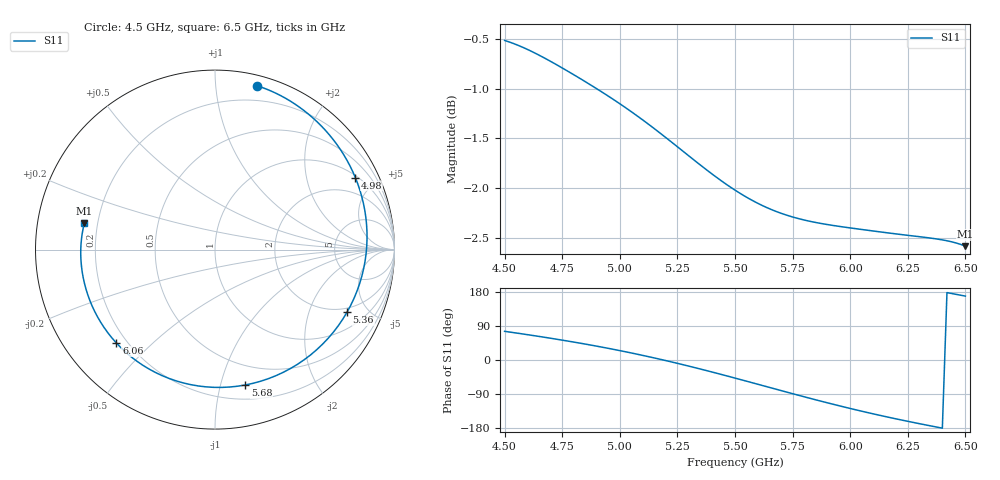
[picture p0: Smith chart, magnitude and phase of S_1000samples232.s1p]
! TOUCHSTONE file generated by CST MICROWAVE STUDIO
! Date and time: Thu Oct 27 11:16:16 2022
! Project name: L.cst
! Parameters = {Di=1.27; Epsilon_r=1.56; InnerDiameter=1.27; Length=2; Lf=10; Lg=60; OuterConductorThickness=0.2921; OuterDiameter=3.6; Wf=3; Wp=41.2; de=1.5; df=6.8; g=0.8; gx=2.75064; gy=1.28307; h=2.34; hf=1.524; px=9.38776; py=9.73537; w=9.7; wx=6.63712; wy=8.4523}
! Header version: 2018
! Port assignment regex: !\s*Touchstone port\s*([0-9]+)\s*=\s*(CST MWS port|CST DS port)\s*([0-9]+|Zmin|Zmax)\s*\(\"(.*)\"\)(\s*mode\s*([0-9]+))?.*
! Touchstone port assignment:
! Touchstone port 1 = CST MWS port 1 ("")
# GHz S DB R 50
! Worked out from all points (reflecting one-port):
!   101 points, 4.5 GHz to 6.5 GHz, reference 50 ohm
!   lowest |S11| = -2.6 dB at 6.5 GHz (marker M1), VSWR 6.77, Z = 7.46 + j4.86 ohm
!   phase of S11 starts at 76 deg and turns -267 deg over the sweep
!   S11 on the Smith chart (normalised r, x): 4.5 GHz: 0.08, +1.29; 4.98 GHz: 1.09, +3.84; 5.36 GHz: 1.76, -3.64; 5.68 GHz: 0.32, -1.20; 6.06 GHz: 0.16, -0.39; 6.5 GHz: 0.15, +0.10
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4.5  -0.52 75.6
4.62  -0.63 64.9
4.7  -0.73 57.4
4.76  -0.81 51.4
4.86  -0.94 40.9
4.98  -1.12 27.2
5  -1.15 24.8
5.08  -1.28 14.7
5.14  -1.39 6.7
5.2  -1.49 -1.6
5.26  -1.60 -10.3
5.3  -1.68 -16.2
5.36  -1.79 -25.4
5.42  -1.89 -34.8
5.5  -2.02 -47.7
5.56  -2.11 -57.6
5.6  -2.16 -64.2
5.68  -2.24 -77.4
5.76  -2.30 -90.5
5.82  -2.33 -100.2
5.88  -2.36 -109.7
5.94  -2.38 -118.9
6  -2.40 -127.9
6.06  -2.42 -136.5
6.16  -2.45 -150.2
6.26  -2.48 -163.1
6.38  -2.51 -177.5
6.5  -2.59 168.6
